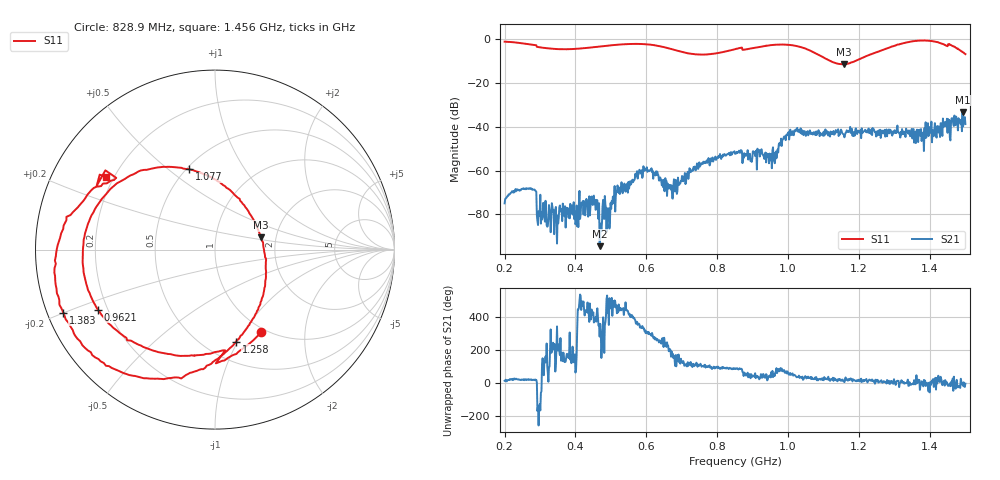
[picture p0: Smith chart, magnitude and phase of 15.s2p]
! NanoVNA-App
! Date: 2024-06-25 16:50:24
! Start: 200MHz Stop: 1.5GHz Points: 801
! S-Parameter data: F S11 S21 S12 S22
# Hz S RI R 50
!  Frequency  S11_Real  S11_Imag  S21_Real  S21_Imag  S12_Real  S12_Imag  S22_Real  S22_Imag
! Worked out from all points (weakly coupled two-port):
!   801 points, 200 MHz to 1.5 GHz, reference 50 ohm
!   highest |S21| = -33.30 dB at 1.492 GHz (marker M1); lowest = -94.4 dB at 468.1 MHz (marker M2)
!   lowest |S11| = -11.6 dB at 1.157 GHz (marker M3), VSWR 1.71, Z = 83 + j12.1 ohm
!   |S11| at or under -10 dB: 1.118 GHz to 1.191 GHz (72.79 MHz wide, 6.31 % of centre)
!   S12 and S22 are empty: the file has one direction only
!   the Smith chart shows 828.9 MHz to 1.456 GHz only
!   S11 on the Smith chart (normalised r, x): 828.9 MHz: 0.94, -1.21; 962.1 MHz: 0.16, -0.24; 1.077 GHz: 0.52, +0.59; 1.258 GHz: 0.69, -0.98; 1.383 GHz: 0.05, -0.20; 1.456 GHz: 0.17, +0.29
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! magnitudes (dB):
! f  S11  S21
! 200 MHz  -1.3  -74.9
! 268.2 MHz  -2.5  -68.1
! 282.9 MHz  -2.8  -68.6
! 297.5 MHz  -3.8  -80.7
! 417.8 MHz  -4.3  -75.5
! 468.1 MHz  -3.5  -94.4
! 575.4 MHz  -2.3  -63.6
! 633.9 MHz  -3.2  -62.2
! 674.5 MHz  -4.8  -72.8
! 828.9 MHz  -5.5  -52.5
! 850 MHz  -4.7  -52.3
! 962.1 MHz  -2.7  -56.6
! 994.6 MHz  -2.7  -43.8
! 1.068 GHz  -5.8  -43.0
! 1.077 GHz  -6.6  -43.9
! 1.157 GHz  -11.6  -43.7
! 1.258 GHz  -5.6  -41.7
! 1.284 GHz  -4.1  -41.3
! 1.383 GHz  -0.8  -51.1
! 1.456 GHz  -2.7  -44.9
! 1.492 GHz  -6.1  -33.3
! 1.5 GHz  -6.9  -38.8
